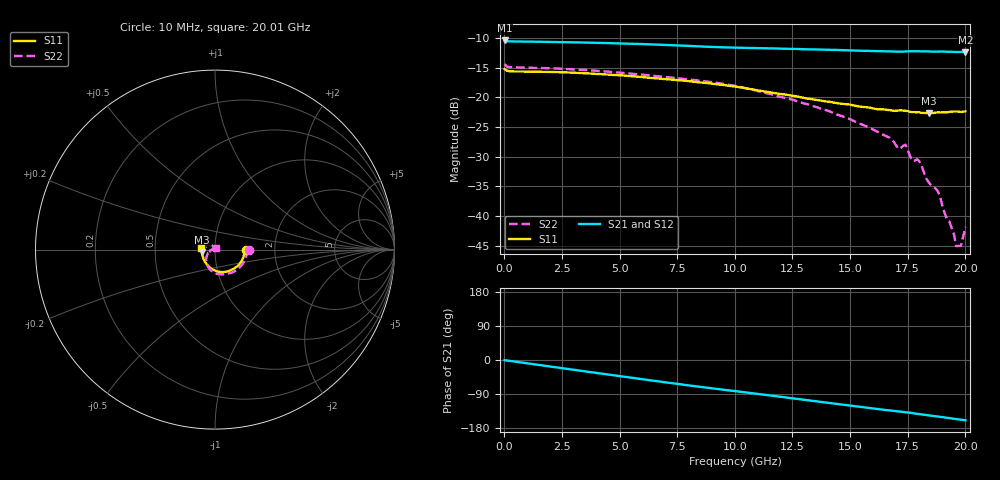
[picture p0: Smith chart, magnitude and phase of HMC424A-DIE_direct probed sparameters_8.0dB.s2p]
!s2p File: Measurements: S11, S21, S12, S22
# GHz S dB R 50.0
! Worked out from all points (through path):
!   201 points, 10 MHz to 20.01 GHz, reference 50 ohm
!   highest |S21| = -10.42 dB at 10 MHz (marker M1); lowest = -12.4 dB at 20.01 GHz (marker M2)
!   group delay of S21, straight-line fit = 21.8 ps
!   lowest |S11| = -22.7 dB at 18.41 GHz (marker M3), VSWR 1.16, Z = 43.3 - j1.27 ohm
!   |S11| at or under -10 dB: start of sweep to end of sweep
!   |S22| runs from -45.1 to -14.4 dB; largest |S21 - S12| = 0.0023
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0.01  -15.25 -0.8  -10.42 -0.5  -10.42 -0.5  -14.41 -1.4
0.31  -15.62 -3.0  -10.58 -3.0  -10.58 -2.9  -14.93 -3.9
3.41  -15.93 -27.0  -10.77 -29.3  -10.76 -29.2  -15.38 -34.3
6.71  -16.84 -53.8  -11.13 -56.7  -11.13 -56.6  -16.46 -65.2
10.01  -18.18 -83.3  -11.63 -82.1  -11.63 -82.1  -18.07 -96.0
13.41  -20.34 -115.5  -11.93 -108.0  -11.94 -108.0  -21.49 -124.7
14.91  -21.15 -130.9  -12.08 -119.7  -12.09 -119.5  -23.51 -136.4
16.71  -22.14 -150.6  -12.26 -132.9  -12.25 -132.9  -26.77 -152.0
17.11  -22.21 -153.9  -12.32 -135.8  -12.26 -135.8  -28.71 -154.4
17.41  -22.26 -157.9  -12.27 -137.8  -12.29 -138.1  -27.98 -158.3
17.71  -22.49 -160.4  -12.23 -140.2  -12.27 -140.4  -30.71 -161.6
18.01  -22.49 -163.9  -12.25 -142.9  -12.29 -142.7  -30.76 -167.5
18.41  -22.67 -168.6  -12.27 -146.0  -12.29 -145.9  -34.28 -171.6
18.81  -22.51 -172.6  -12.29 -149.2  -12.31 -149.0  -35.78 179.2
18.91  -22.55 -173.8  -12.29 -150.1  -12.30 -149.9  -36.68 171.3
19.11  -22.51 -176.1  -12.30 -151.6  -12.32 -151.6  -39.51 164.8
19.21  -22.53 -177.0  -12.32 -152.4  -12.32 -152.3  -40.52 163.4
19.31  -22.45 -178.1  -12.31 -153.2  -12.30 -153.1  -40.86 156.0
19.51  -22.37 179.6  -12.35 -155.1  -12.34 -154.8  -42.99 126.2
19.61  -22.38 177.9  -12.36 -155.9  -12.37 -155.7  -45.06 110.9
19.81  -22.45 176.1  -12.35 -157.4  -12.36 -157.3  -45.01 80.4
20.01  -22.36 174.2  -12.39 -159.1  -12.37 -159.0  -41.82 49.4
